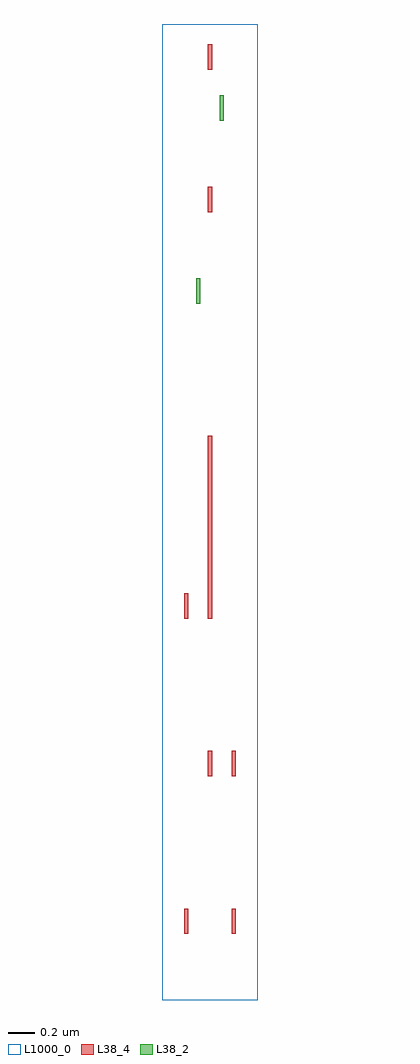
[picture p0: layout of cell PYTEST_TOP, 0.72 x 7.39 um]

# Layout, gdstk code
import gdstk
lib = gdstk.Library(unit=1e-6, precision=5e-10)
def R(c, l, rs):  # rectangles x0, y0, x1, y1
    for r in rs: c.add(gdstk.rectangle(r[:2], r[2:], *l))
L38_2 = (38, 2)
L38_4 = (38, 4)
L1000_0 = (1000, 0)

pytest_top = lib.new_cell('PYTEST_TOP')
R(pytest_top, L38_2, [(0.254,5.272,0.286,5.465), (0.434,6.658,0.466,6.851)])
R(pytest_top, L38_4, [(0.164,0.5,0.196,0.693), (0.524,0.5,0.556,0.693), (0.344,1.693,0.376,1.886), (0.524,1.693,0.556,1.886), (0.164,2.886,0.196,3.079), (0.344,2.886,0.376,4.272), (0.344,5.965,0.376,6.158), (0.344,7.0455,0.376,7.2385)])
R(pytest_top, L1000_0, [(0,0,0.72,7.392)])

lib.write_gds('PYTEST_TOP.gds')
